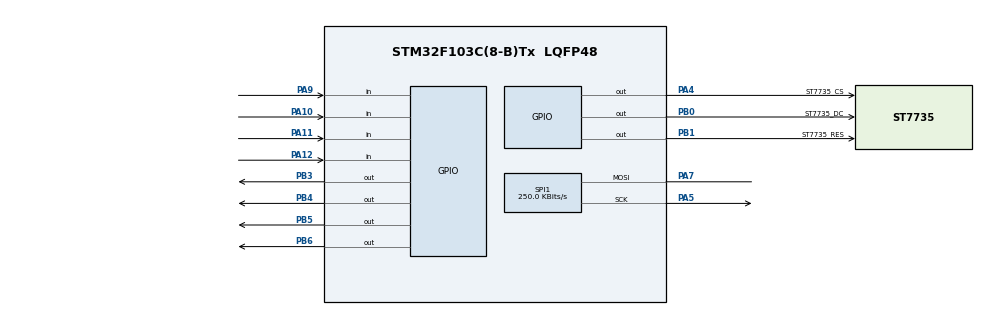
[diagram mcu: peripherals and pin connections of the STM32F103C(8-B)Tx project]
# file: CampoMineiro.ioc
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Mcu.Family=STM32F1
Mcu.Name=STM32F103C(8-B)Tx
Mcu.Package=LQFP48
NVIC.PriorityGroup=NVIC_PRIORITYGROUP_4
PA10.GPIO_PuPd=GPIO_NOPULL
PA10.Signal=GPIO_Input
PA11.GPIO_PuPd=GPIO_NOPULL
PA11.Signal=GPIO_Input
PA12.GPIO_PuPd=GPIO_NOPULL
PA12.Signal=GPIO_Input
PA13.Mode=Serial_Wire
PA13.Signal=SYS_JTMS-SWDIO
PA14.Mode=Serial_Wire
PA14.Signal=SYS_JTCK-SWCLK
PA4.GPIO_Label=ST7735_CS
PA4.Signal=GPIO_Output
PA5.Mode=Simplex_Bidirectional_Master
PA5.Signal=SPI1_SCK
PA7.Mode=Simplex_Bidirectional_Master
PA7.Signal=SPI1_MOSI
PA9.GPIO_PuPd=GPIO_NOPULL
PA9.Signal=GPIO_Input
PB0.GPIO_Label=ST7735_DC
PB0.Signal=GPIO_Output
PB1.GPIO_Label=ST7735_RES
PB1.Signal=GPIO_Output
PB3.GPIO_PuPd=GPIO_NOPULL
PB3.Signal=GPIO_Output
PB4.Signal=GPIO_Output
PB5.Signal=GPIO_Output
PB6.Signal=GPIO_Output
ProjectManager.HeapSize=0x200
ProjectManager.StackSize=0x400
ProjectManager.TargetToolchain=STM32CubeIDE
RCC.APB1Freq_Value=8000000
RCC.APB2Freq_Value=8000000
SPI1.BaudRatePrescaler=SPI_BAUDRATEPRESCALER_32
SPI1.CalculateBaudRate=250.0 KBits/s
SPI1.Direction=SPI_DIRECTION_1LINE
SPI1.Mode=SPI_MODE_MASTER
SPI1.VirtualType=VM_MASTER
board=custom

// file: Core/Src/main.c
/* USER CODE BEGIN Header */
/**
  ******************************************************************************
  * @file           : main.c
  * @brief          : Main program body
  ******************************************************************************
  * @attention
  *
  * <h2><center>&copy; Copyright (c) 2024 STMicroelectronics.
  * All rights reserved.</center></h2>
  *
  * This software component is licensed by ST under BSD 3-Clause license,
  * the "License"; You may not use this file except in compliance with the
  * License. You may obtain a copy of the License at:
  *                        opensource.org/licenses/BSD-3-Clause
  *
  ******************************************************************************
  */
/* USER CODE END Header */
#include "main.h"

/* USER CODE BEGIN Includes */
#include "ST7735/st7735.h"
/* USER CODE END Includes */

/* USER CODE BEGIN PD */
#define BOTAO9 HAL_GPIO_ReadPin(GPIOA,GPIO_PIN_9)
#define BOTAO10 HAL_GPIO_ReadPin(GPIOA,GPIO_PIN_10)
#define BOTAO11 HAL_GPIO_ReadPin(GPIOA,GPIO_PIN_11)
#define BOTAO12 HAL_GPIO_ReadPin(GPIOA,GPIO_PIN_12)

#define LED3_LIGA HAL_GPIO_WritePin(GPIOB,GPIO_PIN_3,1)
#define LED4_LIGA HAL_GPIO_WritePin(GPIOB,GPIO_PIN_4,1)
#define LED5_LIGA HAL_GPIO_WritePin(GPIOB,GPIO_PIN_5,1)
#define LED6_LIGA HAL_GPIO_WritePin(GPIOB,GPIO_PIN_6,1)

#define LED3_DESLIGA HAL_GPIO_WritePin(GPIOB,GPIO_PIN_3,0)
#define LED4_DESLIGA HAL_GPIO_WritePin(GPIOB,GPIO_PIN_4,0)
#define LED5_DESLIGA HAL_GPIO_WritePin(GPIOB,GPIO_PIN_5,0)
#define LED6_DESLIGA HAL_GPIO_WritePin(GPIOB,GPIO_PIN_6,0)
/* USER CODE END PD */

SPI_HandleTypeDef hspi1;
short tabuleiro [7][5] = {{0,0,0,0,0,0,0},
		                  {0,0,0,0,0,0,0},
		                  {0,0,0,0,0,0,0},
		                  {0,0,0,0,0,0,0},
		                  {0,0,0,0,0,0,0}};
int LugarX = 45, LugarY = 13;
int PosicaoX, PosicaoY;

void SystemClock_Config(void);
static void MX_GPIO_Init(void);
static void MX_SPI1_Init(void);

void Menu(void);
void Controls(void);
void Jogo(void);
void Movimento(void);
void Bandeira (void);
void Selecionar (void);

int main(void)
{

  /* MCU Configuration--------------------------------------------------------*/

  /* Reset of all peripherals, Initializes the Flash interface and the Systick. */
  HAL_Init();

  /* Configure the system clock */
  SystemClock_Config();

  /* Initialize all configured peripherals */
  MX_GPIO_Init();
  MX_SPI1_Init();
  /* USER CODE BEGIN 2 */
  ST7735_Init();
  /* USER CODE END 2 */

  /* Infinite loop */
  while (1)
  {
	  Menu();

  }
}

void SystemClock_Config(void)
{
  RCC_OscInitTypeDef RCC_OscInitStruct = {0};
  RCC_ClkInitTypeDef RCC_ClkInitStruct = {0};

  /** Initializes the RCC Oscillators according to the specified parameters
  * in the RCC_OscInitTypeDef structure.
  */
  RCC_OscInitStruct.OscillatorType = RCC_OSCILLATORTYPE_HSI;
  RCC_OscInitStruct.HSIState = RCC_HSI_ON;
  RCC_OscInitStruct.HSICalibrationValue = RCC_HSICALIBRATION_DEFAULT;
  RCC_OscInitStruct.PLL.PLLState = RCC_PLL_NONE;
  if (HAL_RCC_OscConfig(&RCC_OscInitStruct) != HAL_OK)
  {
    Error_Handler();
  }
  /** Initializes the CPU, AHB and APB buses clocks
  */
  RCC_ClkInitStruct.ClockType = RCC_CLOCKTYPE_HCLK|RCC_CLOCKTYPE_SYSCLK
                              |RCC_CLOCKTYPE_PCLK1|RCC_CLOCKTYPE_PCLK2;
  RCC_ClkInitStruct.SYSCLKSource = RCC_SYSCLKSOURCE_HSI;
  RCC_ClkInitStruct.AHBCLKDivider = RCC_SYSCLK_DIV1;
  RCC_ClkInitStruct.APB1CLKDivider = RCC_HCLK_DIV1;
  RCC_ClkInitStruct.APB2CLKDivider = RCC_HCLK_DIV1;

  if (HAL_RCC_ClockConfig(&RCC_ClkInitStruct, FLASH_LATENCY_0) != HAL_OK)
  {
    Error_Handler();
  }
}

static void MX_SPI1_Init(void)
{

  /* SPI1 parameter configuration*/
  hspi1.Instance = SPI1;
  hspi1.Init.Mode = SPI_MODE_MASTER;
  hspi1.Init.Direction = SPI_DIRECTION_1LINE;
  hspi1.Init.DataSize = SPI_DATASIZE_8BIT;
  hspi1.Init.CLKPolarity = SPI_POLARITY_LOW;
  hspi1.Init.CLKPhase = SPI_PHASE_1EDGE;
  hspi1.Init.NSS = SPI_NSS_SOFT;
  hspi1.Init.BaudRatePrescaler = SPI_BAUDRATEPRESCALER_32;
  hspi1.Init.FirstBit = SPI_FIRSTBIT_MSB;
  hspi1.Init.TIMode = SPI_TIMODE_DISABLE;
  hspi1.Init.CRCCalculation = SPI_CRCCALCULATION_DISABLE;
  hspi1.Init.CRCPolynomial = 10;
  if (HAL_SPI_Init(&hspi1) != HAL_OK)
  {
    Error_Handler();
  }

}

static void MX_GPIO_Init(void)
{
  GPIO_InitTypeDef GPIO_InitStruct = {0};

  /* GPIO Ports Clock Enable */
  __HAL_RCC_GPIOA_CLK_ENABLE();
  __HAL_RCC_GPIOB_CLK_ENABLE();

  /*Configure GPIO pin Output Level */
  HAL_GPIO_WritePin(ST7735_CS_GPIO_Port, ST7735_CS_Pin, GPIO_PIN_RESET);

  /*Configure GPIO pin Output Level */
  HAL_GPIO_WritePin(GPIOB, ST7735_DC_Pin|ST7735_RES_Pin|GPIO_PIN_3|GPIO_PIN_4
                          |GPIO_PIN_5|GPIO_PIN_6, GPIO_PIN_RESET);

  /*Configure GPIO pin : ST7735_CS_Pin */
  GPIO_InitStruct.Pin = ST7735_CS_Pin;
  GPIO_InitStruct.Mode = GPIO_MODE_OUTPUT_PP;
  GPIO_InitStruct.Pull = GPIO_NOPULL;
  GPIO_InitStruct.Speed = GPIO_SPEED_FREQ_LOW;
  HAL_GPIO_Init(ST7735_CS_GPIO_Port, &GPIO_InitStruct);

  /*Configure GPIO pins : ST7735_DC_Pin ST7735_RES_Pin PB3 PB4
                           PB5 PB6 */
  GPIO_InitStruct.Pin = ST7735_DC_Pin|ST7735_RES_Pin|GPIO_PIN_3|GPIO_PIN_4
                          |GPIO_PIN_5|GPIO_PIN_6;
  GPIO_InitStruct.Mode = GPIO_MODE_OUTPUT_PP;
  GPIO_InitStruct.Pull = GPIO_NOPULL;
  GPIO_InitStruct.Speed = GPIO_SPEED_FREQ_LOW;
  HAL_GPIO_Init(GPIOB, &GPIO_InitStruct);

  /*Configure GPIO pins : PA9 PA10 PA11 PA12 */
  GPIO_InitStruct.Pin = GPIO_PIN_9|GPIO_PIN_10|GPIO_PIN_11|GPIO_PIN_12;
  GPIO_InitStruct.Mode = GPIO_MODE_INPUT;
  GPIO_InitStruct.Pull = GPIO_NOPULL;
  HAL_GPIO_Init(GPIOA, &GPIO_InitStruct);

}

/* USER CODE BEGIN 4 */
void Menu(void)
{
	while(1){
	ST7735_FillScreen(BLACK);
	ST7735_WriteString(35,0,"CAMPO MINEIRO", Font_7x10, WHITE, BLACK);
	ST7735_WriteString(20,30,"PA9 - PLAY", Font_7x10, WHITE, BLACK);
	ST7735_WriteString(20,45,"PA10 - BOMBS", Font_7x10, WHITE, BLACK);
	ST7735_WriteString(20,60,"PA11 - CONTROLS", Font_7x10, WHITE, BLACK);
    HAL_Delay(2000);

    while(1)
    {
    	if (BOTAO9 == 0 && BOTAO10 == 1 && BOTAO11 == 1 && BOTAO12 == 1) {
    	    Jogo();
    	    break;
    	}
    	else if (BOTAO9 == 1 && BOTAO10 == 1 && BOTAO11 == 0 && BOTAO12 == 1) {
    		Controls();
    		break;
    	}
    }
	}
}
void Controls(void) {

    ST7735_FillScreen(WHITE);
    ST7735_WriteString(10, 5, "Controles:", Font_7x10 , BLACK, WHITE);
    ST7735_WriteString(20, 20, "PA9 - ESQUERDA", Font_7x10 , BLACK, WHITE);
    ST7735_WriteString(20, 30, "PA11 - DIREITA", Font_7x10 , BLACK, WHITE);
    ST7735_WriteString(20, 40, "PA12 - CIMA", Font_7x10 , BLACK, WHITE);
    ST7735_WriteString(20, 50, "PA10 - BAIXO", Font_7x10 , BLACK, WHITE);
    ST7735_WriteString(20, 70, "PA12 -> MENU", Font_7x10 , BLACK, WHITE);

		while(1){

		   if (BOTAO9 == 1 && BOTAO10 == 1 && BOTAO11 == 1 && BOTAO12 == 0) {
			  break;
		   }
		}
}
void Jogo(void)
{
	ST7735_FillScreen(RED);
	ST7735_FillRectangle(40, 10, 110, 60, BLACK);
	// inicia tabuleiro
	for (int y = 13; y < 65; y += 9)
	{
		for (int x = 45; x < 150; x += 15)
		{
			ST7735_WriteString(x, y, "x", Font_7x10 , WHITE, BLACK);
		}
	}
	// randomiza local de bomba
	for (int i = 0; i < 9; i++)
		{
			PosicaoX = rand () % 6;
			PosicaoY = rand () % 4;
			tabuleiro [PosicaoX][PosicaoY] = 1;
		}
	Movimento();
}
void Movimento(void)
{
	LugarX = 45, LugarY = 13;
	PosicaoX = 0, PosicaoY = 0;

	ST7735_WriteString(LugarX, LugarY, "x", Font_7x10 , WHITE, YELLOW);
	while(1)
	{
	   if (BOTAO9 == 0 && BOTAO10 == 1 && BOTAO11 == 1 && BOTAO12 == 1 && LugarX>=55){
		   ST7735_WriteString(LugarX, LugarY, "x", Font_7x10 , WHITE, BLACK);
		   ST7735_WriteString(LugarX -= 15, LugarY, "x", Font_7x10 , WHITE, YELLOW);
		   if(PosicaoX > 0) PosicaoX -= 1;
		   HAL_Delay(750);
	   }
	   else if (BOTAO9 == 1 && BOTAO10 == 0 && BOTAO11 == 1 && BOTAO12 == 1 && LugarY<=56){
		   ST7735_WriteString(LugarX, LugarY, "x", Font_7x10 , WHITE, BLACK);
		   ST7735_WriteString(LugarX, LugarY += 9, "x", Font_7x10 , WHITE, YELLOW);
		   if(PosicaoY < 4) PosicaoX += 1;
		   HAL_Delay(750);
	   }
	   else if (BOTAO9 == 1 && BOTAO10 == 1 && BOTAO11 == 0 && BOTAO12 == 1 && LugarX<=134){
		   ST7735_WriteString(LugarX, LugarY, "x", Font_7x10 , WHITE, BLACK);
		   ST7735_WriteString(LugarX += 15, LugarY, "x", Font_7x10 , WHITE, YELLOW);
		   if(PosicaoX < 6) PosicaoX += 1;
		   HAL_Delay(750);
	   }
	   else if (BOTAO9 == 1 && BOTAO10 == 1 && BOTAO11 == 1 && BOTAO12 == 0 && LugarY>=22){
		   ST7735_WriteString(LugarX, LugarY, "x", Font_7x10 , WHITE, BLACK);
		   ST7735_WriteString(LugarX, LugarY -= 9, "x", Font_7x10 , WHITE, YELLOW);
		   if(PosicaoY > 0) PosicaoX -= 1;
		   HAL_Delay(750);
	   }
	   Bandeira();
	   Selecionar();
	}
}
void Bandeira (void){
	if (BOTAO9 == 0 && BOTAO10 == 0 && BOTAO11 == 1 && BOTAO12 == 1){
		ST7735_WriteString(LugarX, LugarY, "x", Font_7x10 , WHITE, BLUE);
		tabuleiro [PosicaoX][PosicaoY] = 2;
		HAL_Delay(750);
	}
}
void Selecionar (void) {
	if (BOTAO9 == 1 && BOTAO10 == 1 && BOTAO11 == 0 && BOTAO12 == 0 && tabuleiro [PosicaoX][PosicaoY] == 0){
		ST7735_FillRectangle(LugarX, LugarY, 7, 10, WHITE);
		HAL_Delay(750);
	}
	else if (BOTAO9 == 1 && BOTAO10 == 1 && BOTAO11 == 0 && BOTAO12 == 0 && tabuleiro [PosicaoX][PosicaoY] == 1){
			ST7735_FillRectangle(LugarX, LugarY, 7, 10, RED);
			HAL_Delay(750);
		}
}
void GameOver(void) {

}
/* USER CODE END 4 */

void Error_Handler(void)
{
  __disable_irq();
  while (1)
  {
  }
}

/************************ (C) COPYRIGHT STMicroelectronics *****END OF FILE****/
